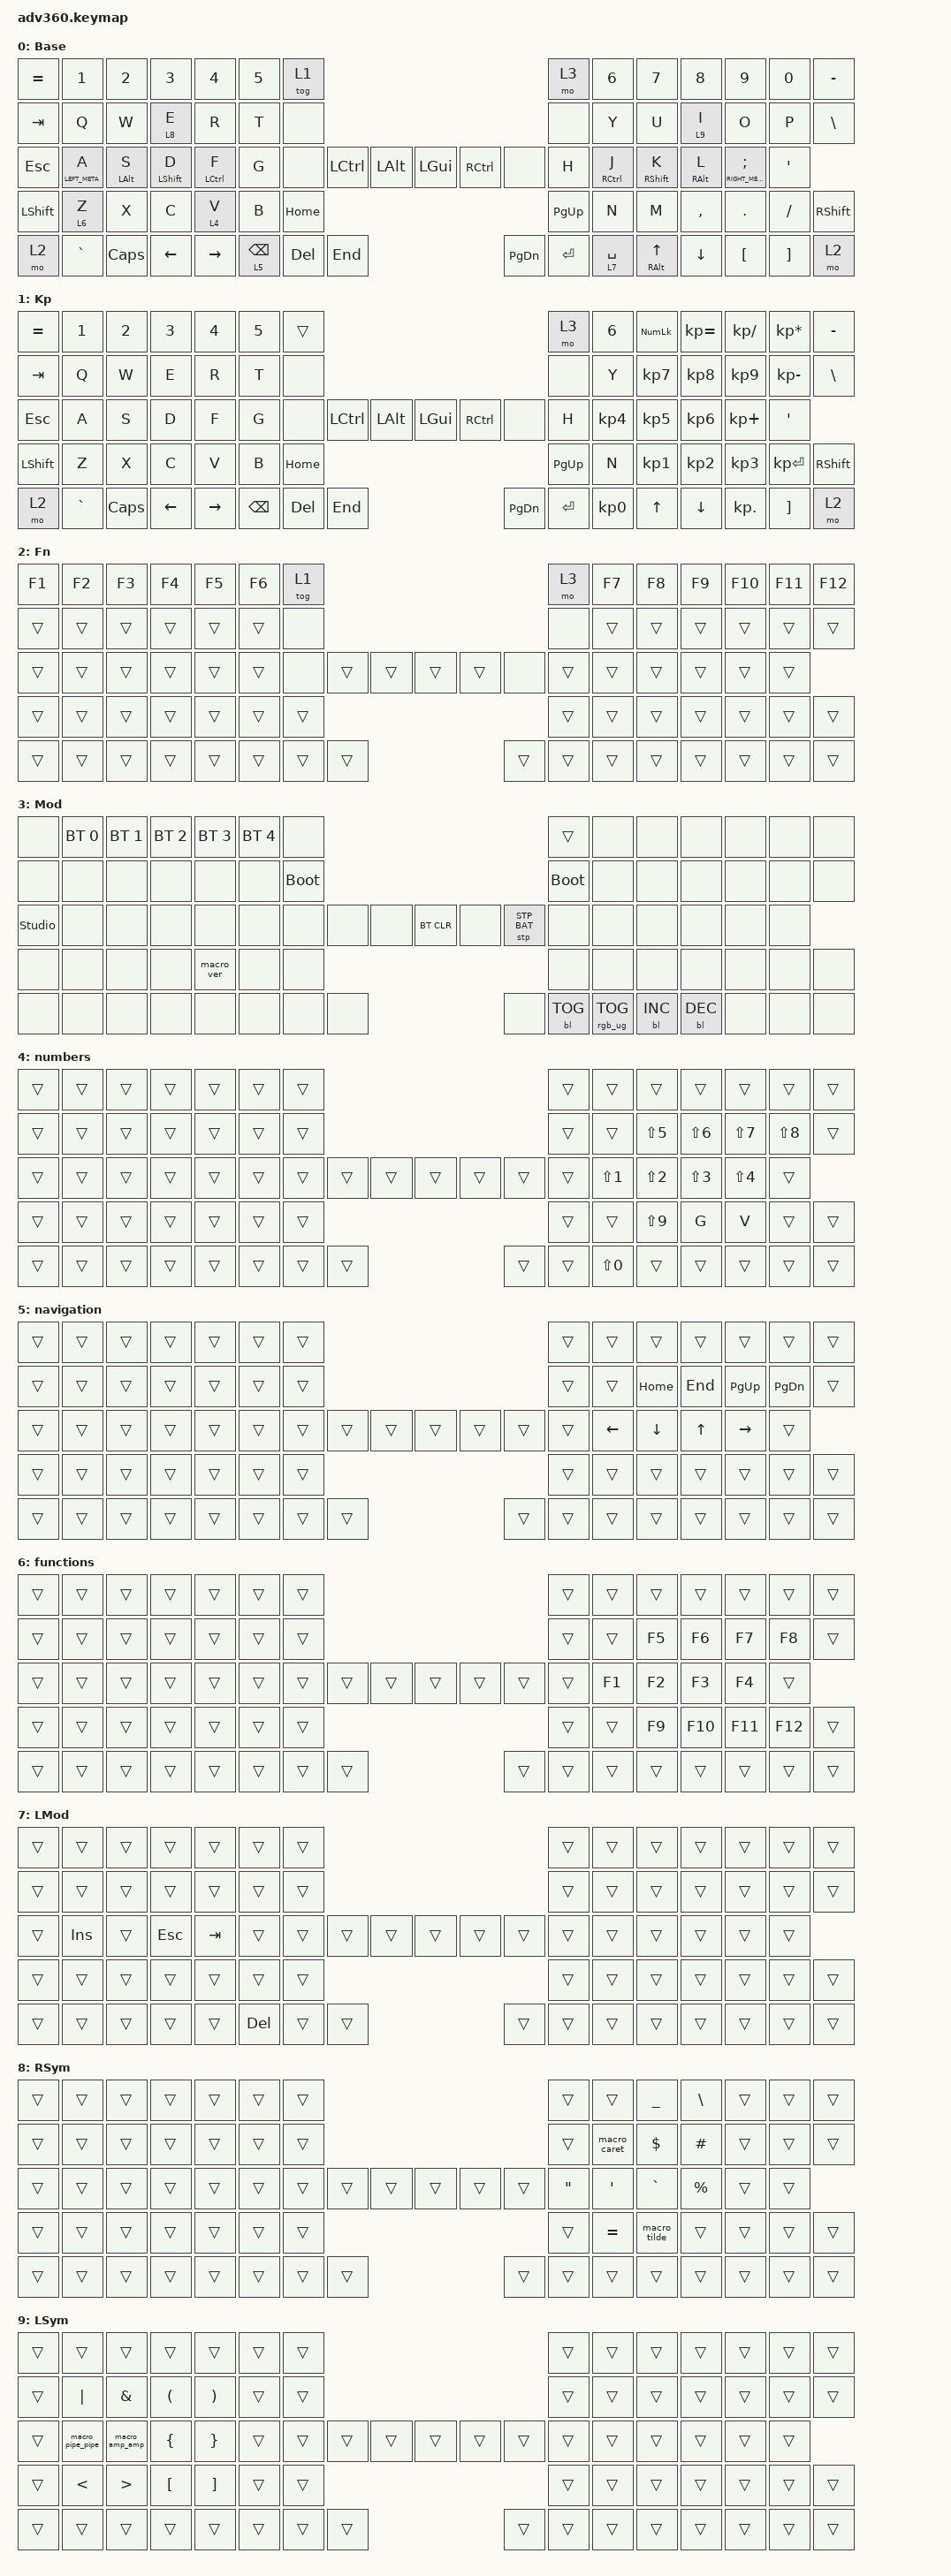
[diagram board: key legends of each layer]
#include <dt-bindings/zmk/stp.h>
#include <behaviors.dtsi>
#include <dt-bindings/zmk/backlight.h>
#include <dt-bindings/zmk/bt.h>
#include <dt-bindings/zmk/keys.h>
#include <dt-bindings/zmk/rgb.h>

/ {
    behaviors {
        #include "macros.dtsi"
      #include "version.dtsi"

        hm: homerow_mods {
            compatible = "zmk,behavior-hold-tap";
            label = "HOMEROW_MODS";
            #binding-cells = <2>;
            tapping-term-ms = <280>;
            quick-tap-ms = <175>;
            require-prior-idle-ms = <150>;
            flavor = "balanced";
            bindings = <&kp>, <&kp>;
        };
    };

    keymap {
        compatible = "zmk,keymap";

        default_layer {
            display-name = "Base";
            bindings = <
&kp EQUAL  &kp N1           &kp N2          &kp N3            &kp N4       &kp N5  &tog 1                                                          &mo 3      &kp N6  &kp N7                  &kp N8     &kp N9    &kp N0    &kp MINUS
&kp TAB    &kp Q            &kp W           &lt 8 E           &kp R        &kp T   &none                                                           &none      &kp Y   &kp U                   &lt 9 I    &kp O     &kp P     &kp BSLH
&kp ESC    &hm LEFT_META A  &hm LEFT_ALT S  &hm LEFT_SHIFT D  &hm LCTRL F  &kp G   &none            &kp LCTRL  &kp LALT      &kp LGUI   &kp RCTRL  &none      &kp H   &hm RCTRL J   &hm RSHIFT K   &hm RALT L   &hm RIGHT_META SEMI  &kp SQT
&kp LSHFT  &lt 6 Z          &kp X           &kp C             &lt 4 V      &kp B                               &kp HOME      &kp PG_UP                        &kp N   &kp M                   &kp COMMA  &kp DOT   &kp FSLH  &kp RSHFT
&mo 2      &kp GRAVE        &kp CAPS        &kp LEFT          &kp RIGHT            &lt 5 BACKSPACE  &kp DEL    &kp END       &kp PG_DN  &kp ENTER  &lt 7 SPACE          &mt RIGHT_ALT UP_ARROW  &kp DOWN   &kp LBKT  &kp RBKT  &mo 2
            >;
        };

        keypad {
            display-name = "Kp";
            bindings = <
&kp EQUAL  &kp N1     &kp N2    &kp N3    &kp N4     &kp N5  &trans                                                   &mo 3      &kp N6  &kp KP_NUM  &kp KP_EQUAL  &kp KP_DIVIDE  &kp KP_MULTIPLY  &kp MINUS
&kp TAB    &kp Q      &kp W     &kp E     &kp R      &kp T   &none                                                    &none      &kp Y   &kp KP_N7   &kp KP_N8     &kp KP_N9      &kp KP_MINUS     &kp BSLH
&kp ESC    &kp A      &kp S     &kp D     &kp F      &kp G   &none     &kp LCTRL  &kp LALT      &kp LGUI   &kp RCTRL  &none      &kp H   &kp KP_N4   &kp KP_N5     &kp KP_N6      &kp KP_PLUS      &kp SQT
&kp LSHFT  &kp Z      &kp X     &kp C     &kp V      &kp B                        &kp HOME      &kp PG_UP                        &kp N   &kp KP_N1   &kp KP_N2     &kp KP_N3      &kp KP_ENTER     &kp RSHFT
&mo 2      &kp GRAVE  &kp CAPS  &kp LEFT  &kp RIGHT          &kp BSPC  &kp DEL    &kp END       &kp PG_DN  &kp ENTER  &kp KP_N0          &kp UP      &kp DOWN      &kp KP_DOT     &kp RBKT         &mo 2
            >;
        };

        fn {
            display-name = "Fn";
            bindings = <
&kp F1  &kp F2  &kp F3  &kp F4  &kp F5  &kp F6  &tog 1                                      &mo 3   &kp F7  &kp F8  &kp F9  &kp F10  &kp F11  &kp F12
&trans  &trans  &trans  &trans  &trans  &trans  &none                                       &none   &trans  &trans  &trans  &trans   &trans   &trans
&trans  &trans  &trans  &trans  &trans  &trans  &none   &trans  &trans      &trans  &trans  &none   &trans  &trans  &trans  &trans   &trans   &trans
&trans  &trans  &trans  &trans  &trans  &trans                  &trans      &trans                  &trans  &trans  &trans  &trans   &trans   &trans
&trans  &trans  &trans  &trans  &trans          &trans  &trans  &trans      &trans  &trans  &trans          &trans  &trans  &trans   &trans   &trans
            >;
        };

        mod {
            display-name = "Mod";
            bindings = <
&none           &bt BT_SEL 0  &bt BT_SEL 1  &bt BT_SEL 2  &bt BT_SEL 3  &bt BT_SEL 4  &none                                                  &trans           &none  &none       &none       &none  &none  &none
&none           &none         &none         &none         &none         &none         &bootloader                                            &bootloader      &none  &none       &none       &none  &none  &none
&studio_unlock  &none         &none         &none         &none         &none         &none        &none  &none      &bt BT_CLR  &none       &stp STP_BAT     &none  &none       &none       &none  &none  &none
&none           &none         &none         &none         &macro_ver    &none                             &none      &none                                    &none  &none       &none       &none  &none  &none
&none           &none         &none         &none         &none                       &none        &none  &none      &none       &bl BL_TOG  &rgb_ug RGB_TOG         &bl BL_INC  &bl BL_DEC  &none  &none  &none
            >;
        };

        extra1 {
            display-name = "Red";
            status = "reserved";
        };

        extra2 {
            display-name = "Purple";
            status = "reserved";
        };

        extra3 {
            display-name = "Cyan";
            status = "reserved";
        };

        extra4 {
            display-name = "Yellow";
            status = "reserved";
        };

        numbers {
            bindings = <
&trans  &trans  &trans  &trans  &trans  &trans  &trans                                      &trans      &trans  &trans      &trans      &trans      &trans      &trans
&trans  &trans  &trans  &trans  &trans  &trans  &trans                                      &trans      &trans  &kp LS(N5)  &kp LS(N6)  &kp LS(N7)  &kp LS(N8)  &trans
&trans  &trans  &trans  &trans  &trans  &trans  &trans  &trans  &trans      &trans  &trans  &trans      &trans  &kp LS(N1)  &kp LS(N2)  &kp LS(N3)  &kp LS(N4)  &trans
&trans  &trans  &trans  &trans  &trans  &trans                  &trans      &trans                      &trans  &kp LS(N9)  &kp G       &kp V       &trans      &trans
&trans  &trans  &trans  &trans  &trans          &trans  &trans  &trans      &trans  &trans      &kp LS(N0)      &trans      &trans      &trans      &trans      &trans
            >;
        };

        navigation {
            bindings = <
&trans  &trans  &trans  &trans  &trans  &trans  &trans                                      &trans  &trans  &trans          &trans          &trans        &trans           &trans
&trans  &trans  &trans  &trans  &trans  &trans  &trans                                      &trans  &trans  &kp HOME        &kp END         &kp PAGE_UP   &kp PAGE_DOWN    &trans
&trans  &trans  &trans  &trans  &trans  &trans  &trans  &trans  &trans      &trans  &trans  &trans  &trans  &kp LEFT_ARROW  &kp DOWN_ARROW  &kp UP_ARROW  &kp RIGHT_ARROW  &trans
&trans  &trans  &trans  &trans  &trans  &trans                  &trans      &trans                  &trans  &trans          &trans          &trans        &trans           &trans
&trans  &trans  &trans  &trans  &trans          &trans  &trans  &trans      &trans  &trans  &trans          &trans          &trans          &trans        &trans           &trans
            >;
        };

        functions {
            bindings = <
&trans  &trans  &trans  &trans  &trans  &trans  &trans                                      &trans  &trans  &trans   &trans   &trans   &trans    &trans
&trans  &trans  &trans  &trans  &trans  &trans  &trans                                      &trans  &trans  &kp F5   &kp F6   &kp F7   &kp F8    &trans
&trans  &trans  &trans  &trans  &trans  &trans  &trans  &trans  &trans      &trans  &trans  &trans  &trans  &kp F1   &kp F2   &kp F3   &kp F4    &trans
&trans  &trans  &trans  &trans  &trans  &trans                  &trans      &trans                  &trans  &kp F9   &kp F10  &kp F11  &kp F12   &trans
&trans  &trans  &trans  &trans  &trans          &trans  &trans  &trans      &trans  &trans  &trans          &trans   &trans   &trans   &trans    &trans
            >;
        };
        left_mod {
            display-name = "LMod";
            bindings = <
&trans  &trans   &trans  &trans   &trans   &trans  &trans                                      &trans  &trans  &trans  &trans  &trans  &trans  &trans
&trans  &trans   &trans  &trans   &trans   &trans  &trans                                      &trans  &trans  &trans  &trans  &trans  &trans  &trans
&trans  &kp INS  &trans  &kp ESC  &kp TAB  &trans  &trans  &trans  &trans      &trans  &trans  &trans  &trans  &trans  &trans  &trans  &trans  &trans
&trans  &trans   &trans  &trans   &trans   &trans                  &trans      &trans                  &trans  &trans  &trans  &trans  &trans  &trans
&trans  &trans   &trans  &trans   &trans           &kp DEL  &trans  &trans      &trans  &trans  &trans          &trans  &trans  &trans  &trans  &trans
            >;
        };

        right_symbols {
            display-name = "RSym";
            bindings = <
&trans  &trans  &trans  &trans  &trans  &trans  &trans                                      &trans  &trans  &kp UNDER    &kp BSLH   &trans     &trans  &trans
&trans  &trans  &trans  &trans  &trans  &trans  &trans                                      &trans  &macro_caret  &kp DLLR  &kp HASH  &trans  &trans  &trans
&trans  &trans  &trans  &trans  &trans  &trans  &trans  &trans  &trans      &trans  &trans  &trans  &kp DQT  &kp SQT  &kp GRAVE  &kp PRCNT  &trans  &trans
&trans  &trans  &trans  &trans  &trans  &trans                  &trans      &trans                  &kp EQUAL  &macro_tilde  &trans  &trans  &trans  &trans
&trans  &trans  &trans  &trans  &trans          &trans  &trans  &trans      &trans  &trans  &trans          &trans  &trans  &trans  &trans  &trans
            >;
        };

        left_symbols {
            display-name = "LSym";
            bindings = <
&trans  &trans           &trans         &trans    &trans    &trans  &trans                                      &trans  &trans  &trans  &trans  &trans  &trans  &trans
&trans  &kp PIPE         &kp AMPS       &kp LPAR  &kp RPAR  &trans  &trans                                      &trans  &trans  &trans  &trans  &trans  &trans  &trans
&trans  &macro_pipe_pipe &macro_amp_amp &kp LBRC  &kp RBRC  &trans  &trans  &trans  &trans      &trans  &trans  &trans  &trans  &trans  &trans  &trans  &trans  &trans
&trans  &kp LT           &kp GT         &kp LBKT  &kp RBKT  &trans                  &trans      &trans                  &trans  &trans  &trans  &trans  &trans  &trans
&trans  &trans           &trans         &trans    &trans            &trans  &trans  &trans      &trans  &trans  &trans          &trans  &trans  &trans  &trans  &trans
            >;
        };
    };
};
